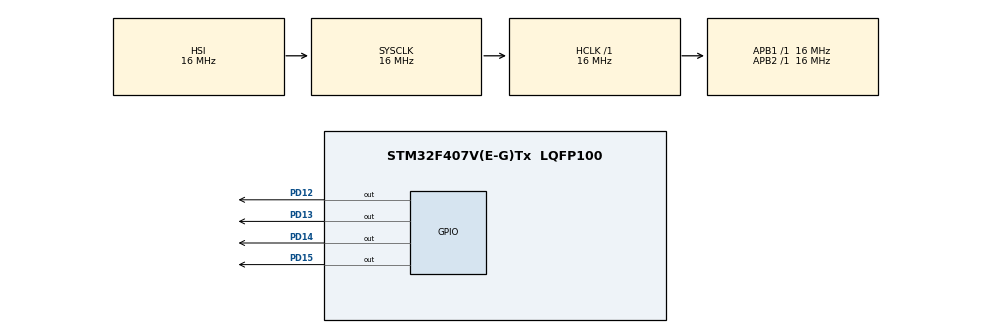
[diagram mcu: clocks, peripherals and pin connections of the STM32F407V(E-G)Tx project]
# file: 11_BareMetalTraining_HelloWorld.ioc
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Mcu.Family=STM32F4
Mcu.Name=STM32F407V(E-G)Tx
Mcu.Package=LQFP100
NVIC.PriorityGroup=NVIC_PRIORITYGROUP_4
PD12.Signal=GPIO_Output
PD13.Signal=GPIO_Output
PD14.Signal=GPIO_Output
PD15.Signal=GPIO_Output
ProjectManager.HeapSize=0x200
ProjectManager.StackSize=0x400
ProjectManager.TargetToolchain=STM32CubeIDE
RCC.AHBFreq_Value=16000000
RCC.APB1Freq_Value=16000000
RCC.APB2Freq_Value=16000000
RCC.CortexFreq_Value=16000000
RCC.HSE_VALUE=25000000
RCC.HSI_VALUE=16000000
RCC.LSE_VALUE=32768
RCC.SYSCLKFreq_VALUE=16000000
RCC.VCOOutputFreq_Value=192000000
board=custom

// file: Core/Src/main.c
/* USER CODE BEGIN Header */
/**
  ******************************************************************************
  * @file           : main.c
  * @brief          : Main program body
  ******************************************************************************
  * @attention
  *
  * Copyright (c) 2023 STMicroelectronics.
  * All rights reserved.
  *
  * This software is licensed under terms that can be found in the LICENSE file
  * in the root directory of this software component.
  * If no LICENSE file comes with this software, it is provided AS-IS.
  *
  ******************************************************************************
  */
/* USER CODE END Header */
#include "main.h"

void SystemClock_Config(void);
static void MX_GPIO_Init(void);

int main(void)
{

  /* MCU Configuration--------------------------------------------------------*/

  /* Reset of all peripherals, Initializes the Flash interface and the Systick. */
  HAL_Init();

  /* Configure the system clock */
  SystemClock_Config();

  /* Initialize all configured peripherals */
  MX_GPIO_Init();

  /* Infinite loop */
  while (1)
  {
    /* USER CODE BEGIN 3 */
	  HAL_Delay(500);
	  HAL_GPIO_WritePin(GPIOD, GPIO_PIN_12, 1);
	  HAL_Delay(500);
	  HAL_GPIO_WritePin(GPIOD, GPIO_PIN_12, 0);
	  HAL_Delay(500);
	  HAL_GPIO_WritePin(GPIOD, GPIO_PIN_13, 1);
	  HAL_Delay(500);
	  HAL_GPIO_WritePin(GPIOD, GPIO_PIN_13, 0);
	  HAL_Delay(500);
	  HAL_GPIO_WritePin(GPIOD, GPIO_PIN_14, 1);
	  HAL_Delay(500);
	  HAL_GPIO_WritePin(GPIOD, GPIO_PIN_14, 0);
	  HAL_Delay(500);
	  HAL_GPIO_WritePin(GPIOD, GPIO_PIN_15, 1);
	  HAL_Delay(500);
	  HAL_GPIO_WritePin(GPIOD, GPIO_PIN_15, 0);
  }
  /* USER CODE END 3 */
}

void SystemClock_Config(void)
{
  RCC_OscInitTypeDef RCC_OscInitStruct = {0};
  RCC_ClkInitTypeDef RCC_ClkInitStruct = {0};

  /** Configure the main internal regulator output voltage
  */
  __HAL_RCC_PWR_CLK_ENABLE();
  __HAL_PWR_VOLTAGESCALING_CONFIG(PWR_REGULATOR_VOLTAGE_SCALE1);

  /** Initializes the RCC Oscillators according to the specified parameters
  * in the RCC_OscInitTypeDef structure.
  */
  RCC_OscInitStruct.OscillatorType = RCC_OSCILLATORTYPE_HSI;
  RCC_OscInitStruct.HSIState = RCC_HSI_ON;
  RCC_OscInitStruct.HSICalibrationValue = RCC_HSICALIBRATION_DEFAULT;
  RCC_OscInitStruct.PLL.PLLState = RCC_PLL_NONE;
  if (HAL_RCC_OscConfig(&RCC_OscInitStruct) != HAL_OK)
  {
    Error_Handler();
  }

  /** Initializes the CPU, AHB and APB buses clocks
  */
  RCC_ClkInitStruct.ClockType = RCC_CLOCKTYPE_HCLK|RCC_CLOCKTYPE_SYSCLK
                              |RCC_CLOCKTYPE_PCLK1|RCC_CLOCKTYPE_PCLK2;
  RCC_ClkInitStruct.SYSCLKSource = RCC_SYSCLKSOURCE_HSI;
  RCC_ClkInitStruct.AHBCLKDivider = RCC_SYSCLK_DIV1;
  RCC_ClkInitStruct.APB1CLKDivider = RCC_HCLK_DIV1;
  RCC_ClkInitStruct.APB2CLKDivider = RCC_HCLK_DIV1;

  if (HAL_RCC_ClockConfig(&RCC_ClkInitStruct, FLASH_LATENCY_0) != HAL_OK)
  {
    Error_Handler();
  }
}

static void MX_GPIO_Init(void)
{
  GPIO_InitTypeDef GPIO_InitStruct = {0};

  /* GPIO Ports Clock Enable */
  __HAL_RCC_GPIOD_CLK_ENABLE();

  /*Configure GPIO pin Output Level */
  HAL_GPIO_WritePin(GPIOD, GPIO_PIN_12|GPIO_PIN_13|GPIO_PIN_14|GPIO_PIN_15, GPIO_PIN_RESET);

  /*Configure GPIO pins : PD12 PD13 PD14 PD15 */
  GPIO_InitStruct.Pin = GPIO_PIN_12|GPIO_PIN_13|GPIO_PIN_14|GPIO_PIN_15;
  GPIO_InitStruct.Mode = GPIO_MODE_OUTPUT_PP;
  GPIO_InitStruct.Pull = GPIO_NOPULL;
  GPIO_InitStruct.Speed = GPIO_SPEED_FREQ_LOW;
  HAL_GPIO_Init(GPIOD, &GPIO_InitStruct);

}

void Error_Handler(void)
{
  __disable_irq();
  while (1)
  {
  }
}
